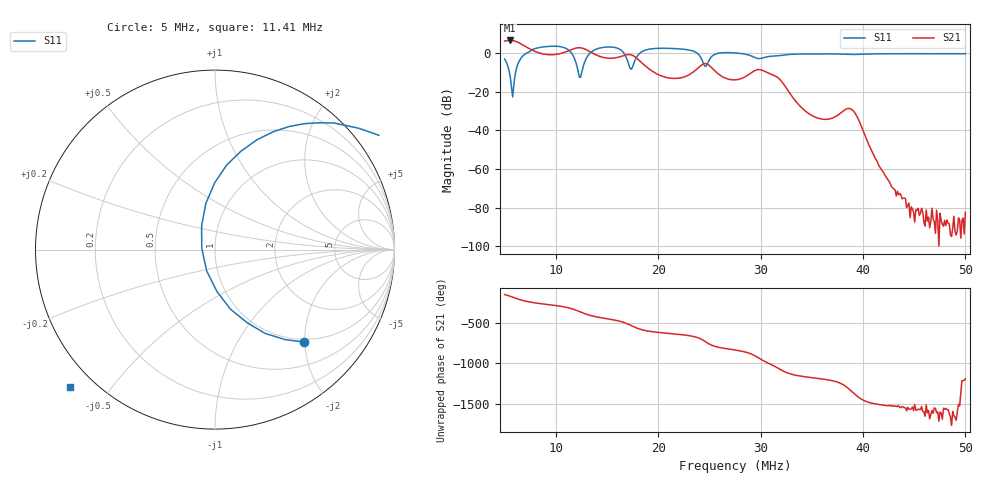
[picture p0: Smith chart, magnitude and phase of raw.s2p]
! S11/S21 only; reverse parameters are placeholders. Device calibration unverified.
! NanoVNA F V2 profile | COM3 | 2026-09-08T12:13:42.2215312-04:00 | device calibration unverified
# HZ S RI R 50
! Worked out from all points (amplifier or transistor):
!   401 points, 5 MHz to 50 MHz, reference 50 ohm
!   highest |S21| = 6.7 dB at 5.562 MHz (marker M1)
!   |S21| within 3 dB of that: start of sweep to 6.996 MHz
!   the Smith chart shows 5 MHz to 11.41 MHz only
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5000000  0.4948 -0.515  -1.843 -0.9611  0 0  0 0
5562500  0.0106 -0.2332  -2.148 -0.2102  0 0  0 0
6350000  0.1458 0.5494  -1.664 0.9379  0 0  0 0
7250000  0.8 0.676  -0.7129 1.202  0 0  0 0
7812500  0.618 -1.128  -0.3619 1.111  0 0  0 0
9950000  -0.1445 -1.527  0.2681 0.8956  0 0  0 0
1.1525e7  -0.8105 -0.6262  1.031 0.707  0 0  0 0
1.25375e7  0.2168 0.2381  1.336 -0.3118  0 0  0 0
1.4225e7  1.038 -0.8771  0.2419 -0.8106  0 0  0 0
1.59125e7  0.2771 -1.362  -0.2726 -0.7232  0 0  0 0
1.6925e7  -0.5608 -0.4701  -0.7861 -0.4734  0 0  0 0
1.7825e7  0.5027 0.5401  -0.7298 0.27  0 0  0 0
2.0075e7  1.284 -0.4104  -0.0534 0.27  0 0  0 0
2.435e7  0.3372 -0.5056  0.5153 0.0788  0 0  0 0
2.75e7  0.8942 -0.5053  -0.0826 -0.1882  0 0  0 0
2.96375e7  0.6084 -0.4327  -0.3557 0.119  0 0  0 0
3.1325e7  0.7351 -0.4241  0.1772 0.1987  0 0  0 0
3.50375e7  0.7031 -0.6659  -0.00183 -0.0241  0 0  0 0
3.8975e7  0.5423 -0.7614  0.00169 0.0336  0 0  0 0
4.2575e7  0.4442 -0.8692  0.000125 -0.000452  0 0  0 0
4.4825e7  0.3554 -0.9096  -9e-06 -9.2e-05  0 0  0 0
5e7  0.1598 -0.9639  -2.4e-05 -7.1e-05  0 0  0 0
